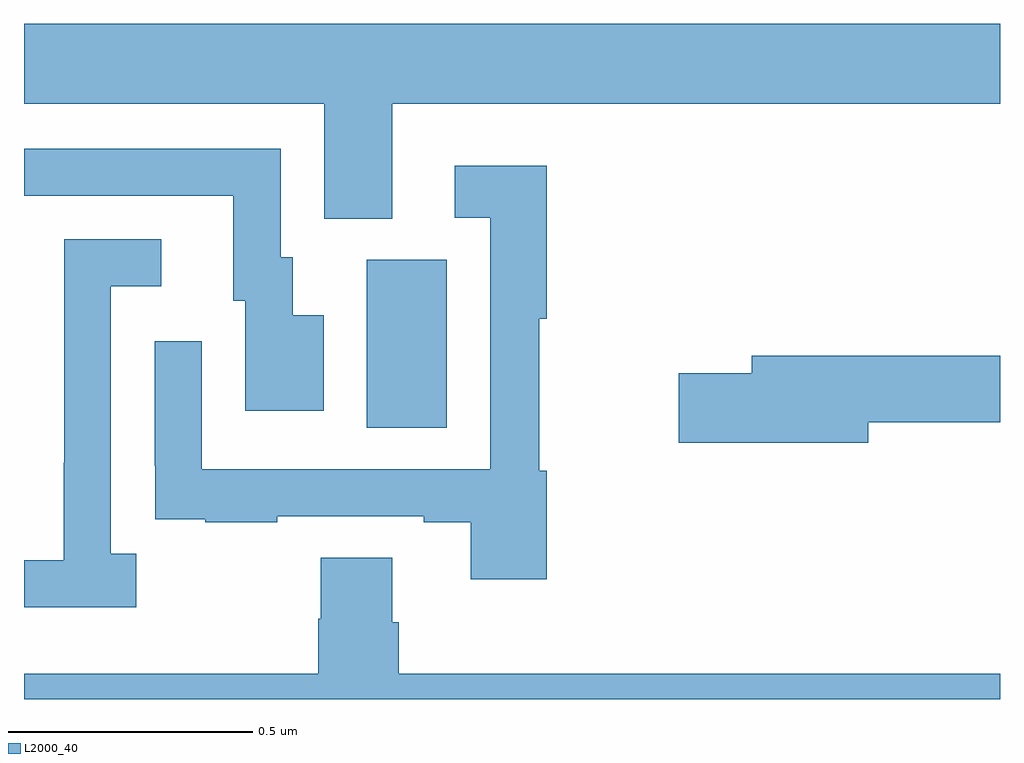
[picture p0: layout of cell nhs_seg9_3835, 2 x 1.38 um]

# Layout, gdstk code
import gdstk
lib = gdstk.Library(unit=1e-6, precision=1e-09)
def R(c, l, rs):  # rectangles x0, y0, x1, y1
    for r in rs: c.add(gdstk.rectangle(r[:2], r[2:], *l))
def P(c, l, *ps):  # polygons
    for p in ps: c.add(gdstk.Polygon(p, *l))
L2000_40 = (2000, 40)

nhs_seg9_3835 = lib.new_cell('nhs_seg9_3835')
R(nhs_seg9_3835, L2000_40, [(158.702,1229.056,158.866,1229.4)])
P(nhs_seg9_3835, L2000_40, [(158.755,1229.72),(160,1229.72),(160,1229.884),(158,1229.884),(158,1229.72),(158.615,1229.72),(158.615,1229.485),(158.755,1229.485)],
  [(158.614,1229.287),(158.551,1229.287),(158.551,1229.406),(158.526,1229.406),(158.526,1229.628),(158,1229.628),(158,1229.532),(158.429,1229.532),(158.429,1229.316),(158.453,1229.316),(158.453,1229.091),(158.614,1229.091)],
  [(159.071,1228.968),(159.056,1228.968),(159.056,1229.28),(159.071,1229.28),(159.071,1229.593),(158.883,1229.593),(158.883,1229.487),(158.955,1229.487),(158.955,1228.971),(158.364,1228.971),(158.364,1229.233),(158.268,1229.233),(158.268,1228.978),(158.269,1228.978),(158.269,1228.869),(158.371,1228.869),(158.371,1228.863),(158.519,1228.863),(158.519,1228.875),(158.819,1228.875),(158.819,1228.863),(158.915,1228.863),(158.915,1228.746),(159.071,1228.746)],
  [(158.23,1228.798),(158.178,1228.798),(158.178,1229.346),(158.281,1229.346),(158.281,1229.442),(158.082,1229.442),(158.082,1228.985),(158.081,1228.985),(158.081,1228.785),(158,1228.785),(158,1228.688),(158.23,1228.688)],
  [(159.73,1229.068),(160,1229.068),(160,1229.204),(159.491,1229.204),(159.491,1229.168),(159.342,1229.168),(159.342,1229.026),(159.73,1229.026)],
  [(160,1228.552),(158.768,1228.552),(158.768,1228.658),(158.755,1228.658),(158.755,1228.79),(158.608,1228.79),(158.608,1228.665),(158.603,1228.665),(158.603,1228.552),(158,1228.552),(158,1228.5),(160,1228.5)])

lib.write_gds('nhs_seg9_3835.gds')
